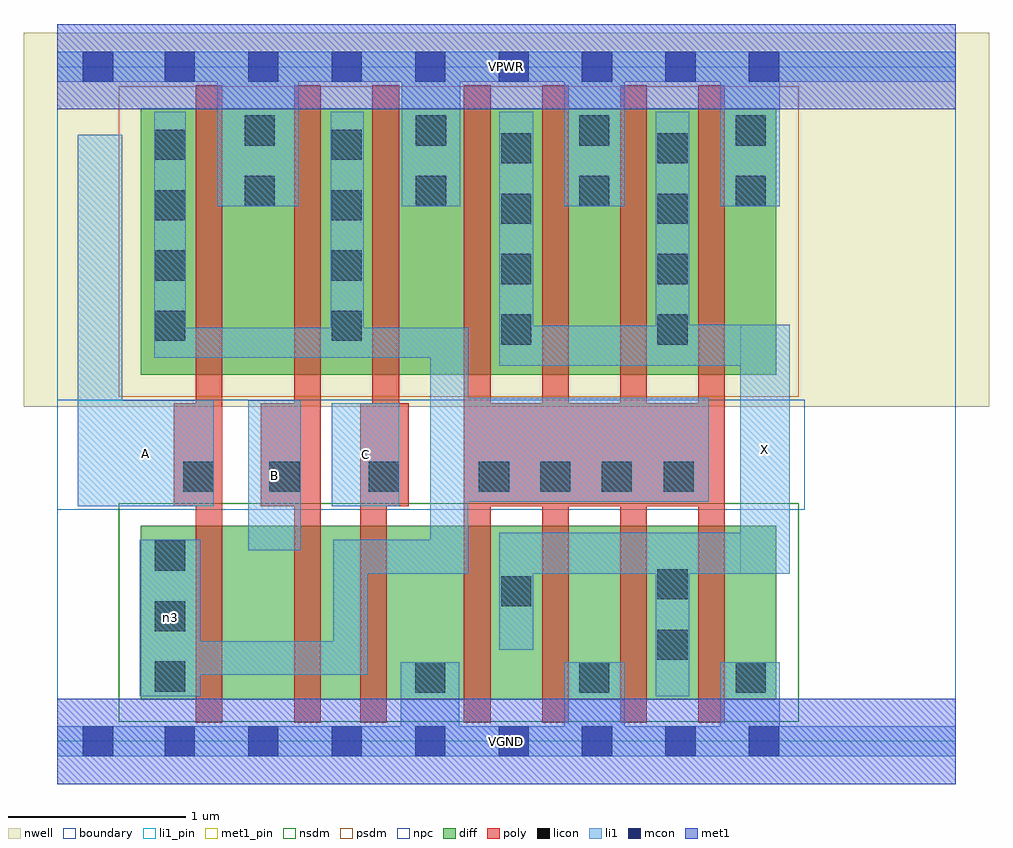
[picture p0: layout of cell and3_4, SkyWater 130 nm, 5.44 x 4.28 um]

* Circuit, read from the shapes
.subckt and3_4 A B C VGND VPWR X n3
XM1 n1 A n3 VSUBS sky130_fd_pr__nfet_01v8 w=0.98 l=0.15
XM2 n2 B n1 VSUBS sky130_fd_pr__nfet_01v8 w=0.98 l=0.15
XM3 VGND C n2 VSUBS sky130_fd_pr__nfet_01v8 w=0.98 l=0.15
XM4 X n3 VGND VSUBS sky130_fd_pr__nfet_01v8 w=0.98 l=0.15 m=4
XM5 VPWR A n3 n4 sky130_fd_pr__pfet_01v8 w=1.5 l=0.15
XM6 n3 B VPWR n4 sky130_fd_pr__pfet_01v8 w=1.5 l=0.15
XM7 VPWR C n3 n4 sky130_fd_pr__pfet_01v8 w=1.5 l=0.15
XM8 X n3 VPWR n4 sky130_fd_pr__pfet_01v8 w=1.5 l=0.15 m=4
.ends

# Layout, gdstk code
import gdstk
lib = gdstk.Library(unit=1e-6, precision=1e-09)
def R(c, l, rs):  # rectangles x0, y0, x1, y1
    for r in rs: c.add(gdstk.rectangle(r[:2], r[2:], *l))
def A(c, l, x, y, w, h, nx, ny, dx, dy):  # array of equal rectangles
    R(c, l, [(x+i*dx, y+j*dy, x+i*dx+w, y+j*dy+h) for i in range(nx) for j in range(ny)])
nwell = (64, 20)
diff = (65, 20)
poly = (66, 20)
licon = (66, 44)
li1_pin = (67, 16)
li1 = (67, 20)
mcon = (67, 44)
met1_pin = (68, 16)
met1 = (68, 20)
nsdm = (93, 44)
psdm = (94, 20)
npc = (95, 20)
boundary = (235, 4)

and3_4 = lib.new_cell('and3_4')
R(and3_4, nwell, [(-0.19,1.885,5.25,3.99), (0,1.885,5.06,3.99)])
R(and3_4, diff, [(0.47,0.235,4.05,1.215), (0.47,2.065,4.05,3.565)])
A(and3_4, poly, 2.29, 0.105, 0.15, 3.59, 4, 1, 0.44, 0)
R(and3_4, poly, [(0.78,0.105,0.93,3.695), (1.335,0.105,1.485,3.695), (1.705,0.105,1.855,1.905), (0.655,1.325,0.93,1.905), (1.145,1.325,1.485,1.905), (1.705,1.325,1.98,1.905), (1.775,1.325,1.925,3.695), (2.29,1.325,3.76,1.905)])
A(and3_4, licon, 0.55, 0.28, 0.17, 0.17, 1, 3, 0, 0.34)
A(and3_4, licon, 2.375, 1.405, 0.17, 0.17, 3, 1, 0.345, 0)
A(and3_4, licon, 2.5, 2.235, 0.17, 0.17, 1, 4, 0, 0.34)
A(and3_4, licon, 3.38, 2.235, 0.17, 0.17, 1, 4, 0, 0.34)
A(and3_4, licon, 0.55, 2.255, 0.17, 0.17, 1, 4, 0, 0.34)
A(and3_4, licon, 1.545, 2.255, 0.17, 0.17, 1, 4, 0, 0.34)
R(and3_4, licon, [(2.015,0.275,2.185,0.445), (2.94,0.275,3.11,0.445), (3.82,0.275,3.99,0.445), (3.38,0.46,3.55,0.63), (2.5,0.76,2.67,0.93), (3.38,0.8,3.55,0.97), (0.71,1.405,0.88,1.575), (1.195,1.405,1.365,1.575), (1.755,1.405,1.925,1.575), (3.415,1.405,3.585,1.575), (1.055,3.015,1.225,3.185), (2.02,3.015,2.19,3.185), (2.94,3.015,3.11,3.185), (3.82,3.015,3.99,3.185), (1.055,3.355,1.225,3.525), (2.02,3.355,2.19,3.525), (2.94,3.355,3.11,3.525), (3.82,3.355,3.99,3.525)])
R(and3_4, li1_pin, [(3.845,0.945,4.125,2.345), (1.075,1.075,1.37,1.92), (0.115,1.325,0.88,1.92), (1.545,1.325,1.925,1.905)])
R(and3_4, li1, [(0,-0.085,5.06,0.085), (1.935,-0.085,2.265,0.445), (2.855,-0.085,3.195,0.445), (3.735,-0.085,4.07,0.445), (0.465,0.255,0.805,1.135), (3.37,0.255,3.56,1.175), (0.465,0.375,1.75,0.565), (1.555,0.375,1.75,1.135), (2.49,0.515,2.68,1.175), (1.555,0.945,2.315,1.135), (2.1,0.945,2.315,2.33), (2.49,0.945,4.125,1.175), (3.845,0.945,4.125,2.345), (1.075,1.075,1.37,1.92), (0.115,1.325,0.365,3.415), (0.115,1.325,0.88,1.92), (1.545,1.325,1.925,1.905), (2.1,1.35,3.67,1.935), (2.49,2.115,4.125,2.34), (2.49,2.115,2.68,3.545), (3.37,2.115,3.56,3.545), (3.37,2.115,4.125,2.345), (0.545,2.16,2.315,2.33), (0.545,2.16,0.725,3.545), (1.54,2.16,1.725,3.545), (0.9,3.015,1.36,3.885), (1.94,3.015,2.27,3.885), (2.855,3.015,3.195,3.885), (3.735,3.015,4.07,3.885), (0,3.715,5.06,3.885)])
A(and3_4, mcon, 0.605, -0.085, 0.17, 0.17, 8, 2, 0.47, 3.8)
R(and3_4, mcon, [(0.145,-0.085,0.315,0.085), (0.145,3.715,0.315,3.885)])
R(and3_4, met1_pin, [(0,-0.24,5.06,0.24), (0,3.56,5.06,4.04)])
R(and3_4, met1, [(0,-0.24,5.06,0.24), (0,3.56,5.06,4.04)])
R(and3_4, nsdm, [(0.345,0.11,4.175,1.34)])
R(and3_4, psdm, [(0.345,1.94,4.175,3.69)])
R(and3_4, npc, [(0,1.305,4.21,1.925)])
R(and3_4, boundary, [(0,0,5.06,3.8)])
and3_4.add(gdstk.Label('A', (0.497,1.622), layer=67, texttype=5))
and3_4.add(gdstk.Label('B', (1.222,1.497), layer=67, texttype=5))
and3_4.add(gdstk.Label('C', (1.735,1.615), layer=67, texttype=5))
and3_4.add(gdstk.Label('X', (3.985,1.645), layer=67, texttype=5))
and3_4.add(gdstk.Label('n3', (0.635,0.695), layer=67, texttype=5))
and3_4.add(gdstk.Label('VPWR', (2.53,3.8), layer=68, texttype=5))
and3_4.add(gdstk.Label('VGND', (2.53,0), layer=68, texttype=5))
and3_4.add(gdstk.Label('A', (0.497,1.622), layer=67, texttype=16))
and3_4.add(gdstk.Label('B', (1.222,1.497), layer=67, texttype=16))
and3_4.add(gdstk.Label('C', (1.735,1.615), layer=67, texttype=16))
and3_4.add(gdstk.Label('X', (3.985,1.645), layer=67, texttype=16))
and3_4.add(gdstk.Label('VPWR', (2.53,3.8), layer=68, texttype=16))
and3_4.add(gdstk.Label('VGND', (2.53,0), layer=68, texttype=16))

lib.write_gds('and3_4.gds')
